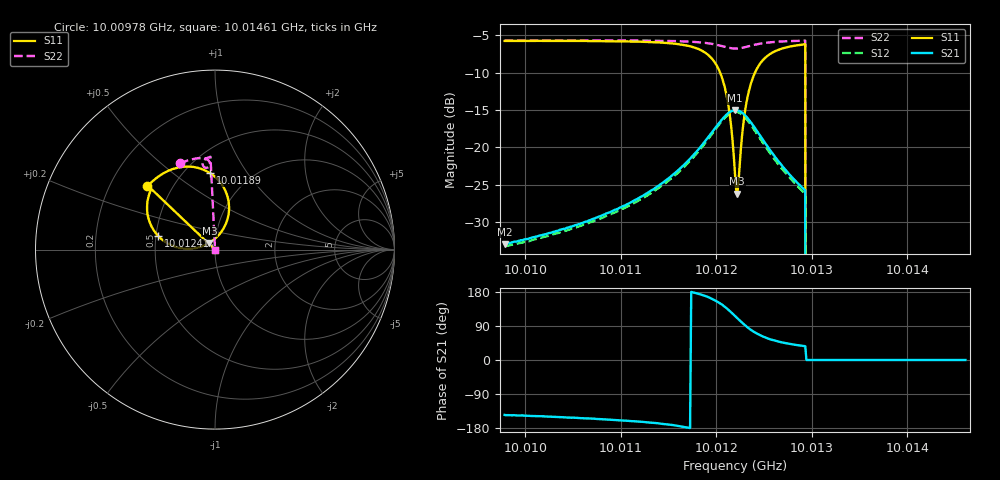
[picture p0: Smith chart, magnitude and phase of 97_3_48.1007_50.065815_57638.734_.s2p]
#  HZ  S  RI  R  50.00
! Rohde & Schwarz Vector Network Analyzer
! Rohde-Schwarz,ZNB20-2Port,1311601062101988,3.16
! Created: UTC 12/23/2023, 3:44:23 AM
! freq[Hz]  re:S11  im:S11  re:S21  im:S21  re:S12  im:S12  re:S22  im:S22
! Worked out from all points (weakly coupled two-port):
!   401 points, 10.00978 GHz to 10.01461 GHz, reference 50 ohm
!   highest |S21| = -15.02 dB at 10.0122 GHz (marker M1); lowest = -32.9 dB at 10.00978 GHz (marker M2)
!   lowest |S11| = -26.2 dB at 10.01222 GHz (marker M3), VSWR 1.10, Z = 46.8 + j3.51 ohm
!   |S11| at or under -10 dB: 10.01204 GHz to 10.0124 GHz (365.3 kHz wide, 0.00365 % of centre); 10.01293 GHz to end of sweep
!   |S22| runs from - to -5.7 dB; largest |S21 - S12| = 0.0085
!   S11 on the Smith chart (normalised r, x): 10.00978 GHz: 0.36, +0.35; 10.01189 GHz: 0.66, +0.69; 10.01241 GHz: 0.52, +0.09; 10.01461 GHz: 1.00, +0.00
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1.0009784e10  -0.3769 0.352  -0.0185 -0.0129  -0.0172 -0.0133  -0.1946 0.4804
1.0010592e10  -0.3213 0.4026  -0.0279 -0.0138  -0.0261 -0.0147  -0.1433 0.4989
1.0011002e10  -0.28 0.4293  -0.0371 -0.0142  -0.035 -0.0153  -0.1151 0.5056
1.00114e10  -0.2168 0.4546  -0.0541 -0.0121  -0.0517 -0.0144  -0.0847 0.5097
1.0011677e10  -0.1367 0.4622  -0.0779 -0.00346  -0.075 -0.00759  -0.0601 0.5081
1.0011894e10  -0.0254 0.4248  -0.1097 0.0229  -0.1076 0.0171  -0.0379 0.4978
1.0012003e10  0.0454 0.3514  -0.1253 0.0584  -0.1249 0.0505  -0.029 0.4848
1.0012087e10  0.0782 0.2423  -0.1248 0.1013  -0.1262 0.0938  -0.0285 0.4702
1.0012147e10  0.0592 0.1411  -0.1058 0.137  -0.1091 0.1294  -0.0352 0.4602
1.0012196e10  0.00623 0.0659  -0.078 0.1593  -0.0822 0.1521  -0.0444 0.4558
1.001222e10  -0.0315 0.0374  -0.0614 0.1658  -0.0658 0.1592  -0.0496 0.4556
1.0012232e10  -0.0517 0.0264  -0.0529 0.1678  -0.0572 0.1614  -0.0523 0.4559
1.001228e10  -0.1385 0.0044  -0.0182 0.1675  -0.0228 0.1616  -0.0613 0.4605
1.0012316e10  -0.1997 0.00967  0.0046 0.1598  0.000113 0.1543  -0.0658 0.4661
1.0012364e10  -0.2675 0.0368  0.0275 0.1435  0.0217 0.1389  -0.0687 0.4745
1.0012413e10  -0.3152 0.075  0.0417 0.1254  0.0363 0.1212  -0.0686 0.4828
1.0012581e10  -0.3768 0.204  0.0549 0.0738  0.0495 0.0724  -0.0566 0.5026
1.0012907e10  -0.3573 0.3319  0.0424 0.0322  0.0388 0.0323  -0.0273 0.5166
1.0012967e10  0 0  0 0  0 0  0 0
1.0013003e10  0 0  0 0  0 0  0 0
1.0013811e10  0 0  0 0  0 0  0 0
1.0014607e10  0 0  0 0  0 0  0 0
